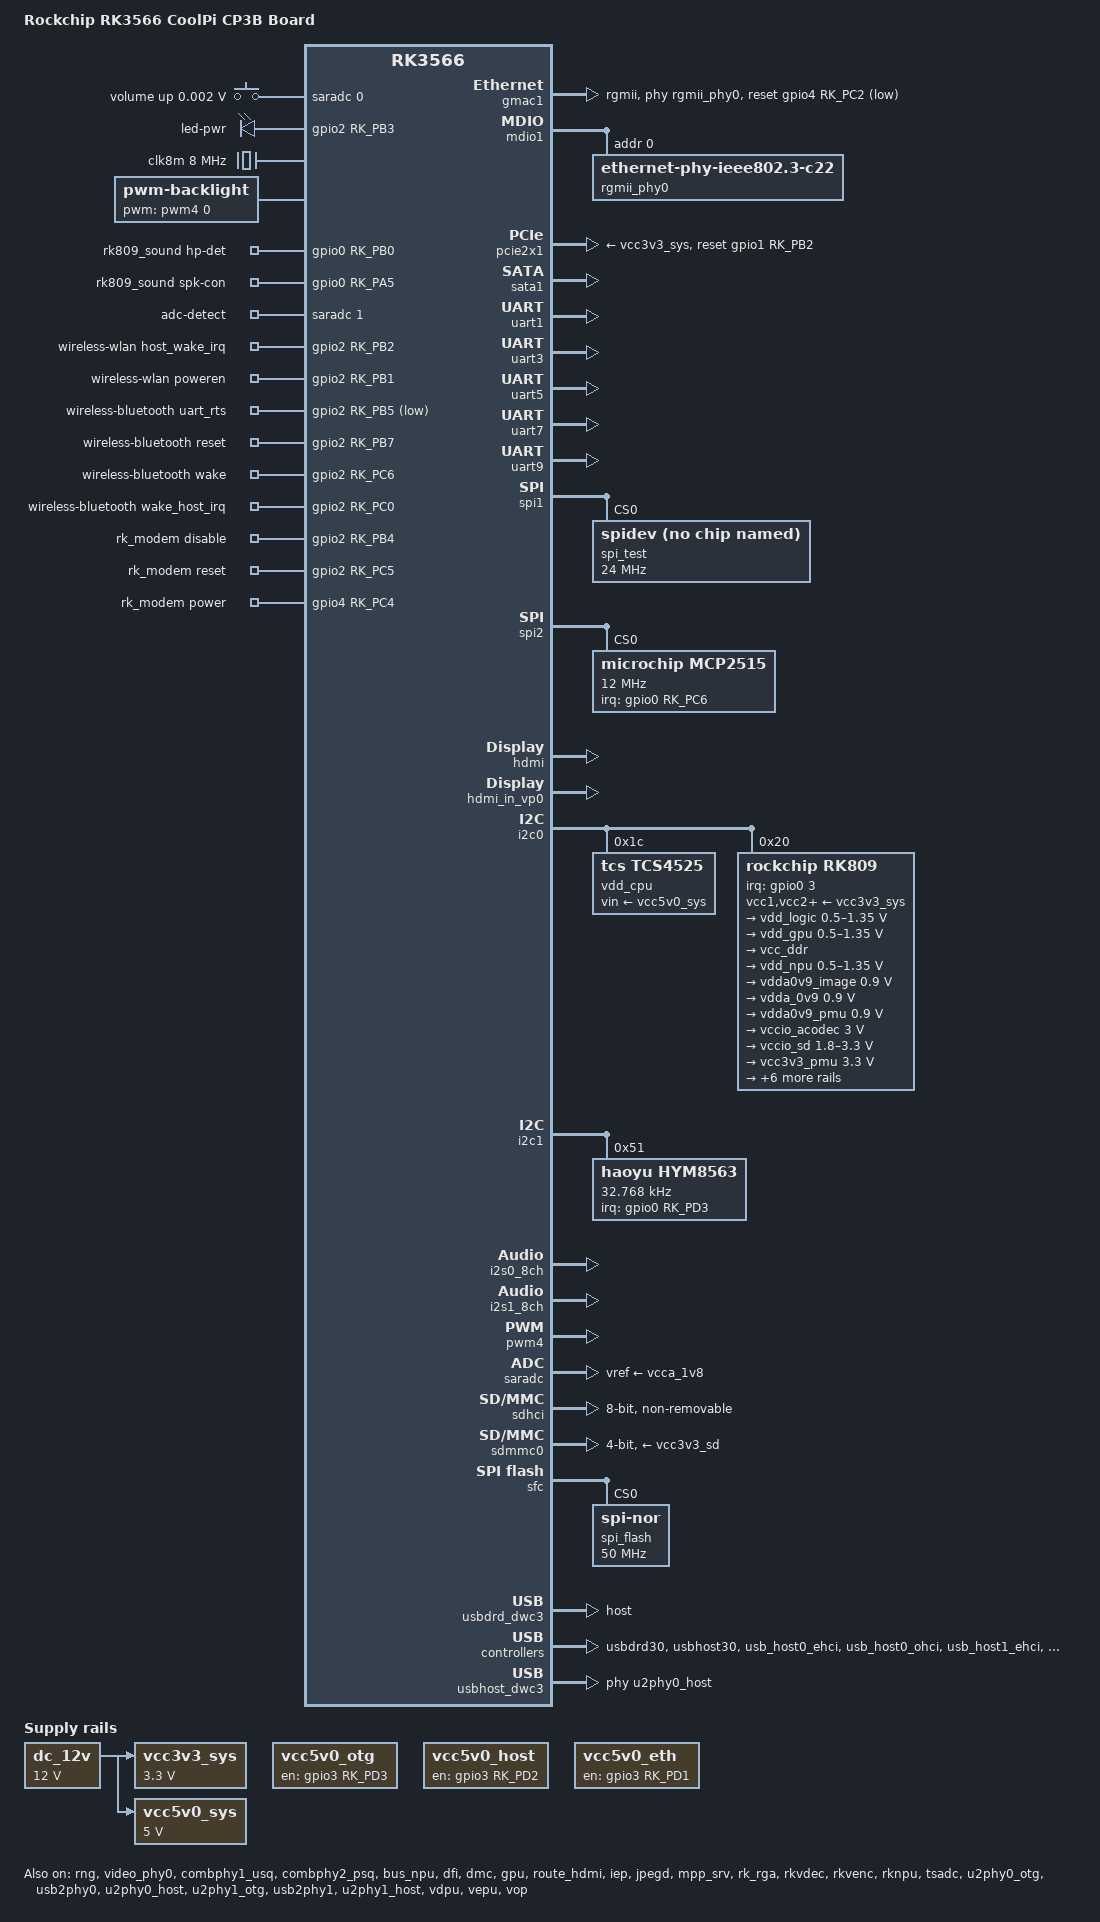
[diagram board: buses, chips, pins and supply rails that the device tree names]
// SPDX-License-Identifier: (GPL-2.0+ OR MIT)
/*
 * Copyright (c) 2020 Rockchip Electronics Co., Ltd.
 *
 */


// SPDX-License-Identifier: (GPL-2.0+ OR MIT)
/*
 * Copyright (c) 2020 Rockchip Electronics Co., Ltd.
 *
 */

/dts-v1/;
#include <dt-bindings/display/rockchip_vop.h>
#include <dt-bindings/gpio/gpio.h>
#include <dt-bindings/display/media-bus-format.h>
#include <dt-bindings/pinctrl/rockchip.h>
#include <dt-bindings/pwm/pwm.h>
#include <dt-bindings/input/rk-input.h>
#include <dt-bindings/display/drm_mipi_dsi.h>
#include <dt-bindings/sensor-dev.h>
#include "rk3566.dtsi"

/ {
	model = "Rockchip RK3566 CoolPi CP3B Board";
	compatible = "rockchip,rk3566";

	chosen: chosen {
		bootargs = "earlycon=uart8250,mmio32,0xfe660000 console=ttyFIQ0";
	};
	
	aliases {
		mmc0 = &sdhci;
		mmc1 = &sdmmc0;
		mmc2 = &sdmmc1;
		mmc3 = &sdmmc2;
	};

	fiq-debugger {
		compatible = "rockchip,fiq-debugger";
		rockchip,serial-id = <2>;
		rockchip,wake-irq = <0>;
		/* If enable uart uses irq instead of fiq */
		rockchip,irq-mode-enable = <1>;
		rockchip,baudrate = <115200>;  /* Only 115200 and 1500000 */
		interrupts = <GIC_SPI 252 IRQ_TYPE_LEVEL_LOW>;
		pinctrl-names = "default";
		pinctrl-0 = <&uart2m0_xfer>;
		status = "okay";
	};

	debug: debug@fd904000 {
		compatible = "rockchip,debug";
		reg = <0x0 0xfd904000 0x0 0x1000>,
			<0x0 0xfd905000 0x0 0x1000>,
			<0x0 0xfd906000 0x0 0x1000>,
			<0x0 0xfd907000 0x0 0x1000>;
	};

	cspmu: cspmu@fd90c000 {
		compatible = "rockchip,cspmu";
		reg = <0x0 0xfd90c000 0x0 0x1000>,
			<0x0 0xfd90d000 0x0 0x1000>,
			<0x0 0xfd90e000 0x0 0x1000>,
			<0x0 0xfd90f000 0x0 0x1000>;
	};
	
	adc_keys: adc-keys {
		compatible = "adc-keys";
		io-channels = <&saradc 0>;
		io-channel-names = "buttons";
		keyup-threshold-microvolt = <1800000>;
		poll-interval = <100>;

		vol-up-key {
			label = "volume up";
			linux,code = <KEY_VOLUMEUP>;
			press-threshold-microvolt = <1750>;
		};
	};
	
	leds: leds {
	status = "okay";
		compatible = "gpio-leds";
		led_pwr: led-pwr {
			label = "led-pwr";
			gpios = <&gpio2 RK_PB3 GPIO_ACTIVE_HIGH>;
			linux,default-trigger = "heartbeat";
		};	
	};
	
	clk8m: clk8m {
		#clock-cells = <0>;
		compatible = "fixed-clock";
		clock-frequency = <8000000>;
	};

	backlight: backlight {
		compatible = "pwm-backlight";
		pwms = <&pwm4 0 25000 0>;
		brightness-levels = <
			  0  20  20  21  21  22  22  23
			 23  24  24  25  25  26  26  27
			 27  28  28  29  29  30  30  31
			 31  32  32  33  33  34  34  35
			 35  36  36  37  37  38  38  39
			 40  41  42  43  44  45  46  47
			 48  49  50  51  52  53  54  55
			 56  57  58  59  60  61  62  63
			 64  65  66  67  68  69  70  71
			 72  73  74  75  76  77  78  79
			 80  81  82  83  84  85  86  87
			 88  89  90  91  92  93  94  95
			 96  97  98  99 100 101 102 103
			104 105 106 107 108 109 110 111
			112 113 114 115 116 117 118 119
			120 121 122 123 124 125 126 127
			128 129 130 131 132 133 134 135
			136 137 138 139 140 141 142 143
			144 145 146 147 148 149 150 151
			152 153 154 155 156 157 158 159
			160 161 162 163 164 165 166 167
			168 169 170 171 172 173 174 175
			176 177 178 179 180 181 182 183
			184 185 186 187 188 189 190 191
			192 193 194 195 196 197 198 199
			200 201 202 203 204 205 206 207
			208 209 210 211 212 213 214 215
			216 217 218 219 220 221 222 223
			224 225 226 227 228 229 230 231
			232 233 234 235 236 237 238 239
			240 241 242 243 244 245 246 247
			248 249 250 251 252 253 254 255
		>;
		default-brightness-level = <200>;
	};

	rk809_sound: rk809-sound {
		status = "okay";
		compatible = "rockchip,multicodecs-card";
		rockchip,card-name = "rockchip-rk809";
		hp-det-gpio = <&gpio0 RK_PB0 GPIO_ACTIVE_HIGH>;
		io-channels = <&saradc 1>;
		io-channel-names = "adc-detect";
		keyup-threshold-microvolt = <1800000>;
		poll-interval = <100>;
		spk-con-gpio = <&gpio0 RK_PA5 GPIO_ACTIVE_HIGH>;
		rockchip,format = "i2s";
		rockchip,mclk-fs = <256>;
		rockchip,cpu = <&i2s1_8ch>;
		rockchip,codec = <&rk809_codec>;
		pinctrl-names = "default";
		pinctrl-0 = <&hp_det>;
		play-pause-key {
			label = "playpause";
			linux,code = <KEY_PLAYPAUSE>;
			press-threshold-microvolt = <2000>;
		};
	};
	
	hdmi_sound: hdmi-sound {
		compatible = "simple-audio-card";
		simple-audio-card,format = "i2s";
		simple-audio-card,mclk-fs = <128>;
		simple-audio-card,name = "rockchip,hdmi";
		status = "disabled";

		simple-audio-card,cpu {
				sound-dai = <&i2s0_8ch>;
		};
		simple-audio-card,codec {
				sound-dai = <&hdmi>;
		};
	};
	
	dc_12v: dc-12v {
		compatible = "regulator-fixed";
		regulator-name = "dc_12v";
		regulator-always-on;
		regulator-boot-on;
		regulator-min-microvolt = <12000000>;
		regulator-max-microvolt = <12000000>;
	};

	vcc3v3_sys: vcc3v3-sys {
		compatible = "regulator-fixed";
		regulator-name = "vcc3v3_sys";
		regulator-always-on;
		regulator-boot-on;
		regulator-min-microvolt = <3300000>;
		regulator-max-microvolt = <3300000>;
		vin-supply = <&dc_12v>;
	};

	vcc5v0_sys: vcc5v0-sys {
		compatible = "regulator-fixed";
		regulator-name = "vcc5v0_sys";
		regulator-always-on;
		regulator-boot-on;
		regulator-min-microvolt = <5000000>;
		regulator-max-microvolt = <5000000>;
		vin-supply = <&dc_12v>;
	};
	
	vcc5v0_otg: vcc5v0-otg {
		compatible = "regulator-fixed";
		enable-active-high;
		gpio = <&gpio3 RK_PD3 GPIO_ACTIVE_HIGH>;
		pinctrl-names = "default";
		pinctrl-0 = <&vcc5v0_otg_en>;
		regulator-name = "vcc5v0_otg";
		regulator-always-on;
	};
	
	vcc5v0_host: vcc5v0-host {
		compatible = "regulator-fixed";
		enable-active-high;
		gpio = <&gpio3 RK_PD2 GPIO_ACTIVE_HIGH>;
		pinctrl-names = "default";
		pinctrl-0 = <&vcc5v0_host_en>;
		regulator-name = "vcc5v0_host";
		regulator-always-on;
	};
	
	vcc5v0_eth: vcc5v0-eth {
		compatible = "regulator-fixed";
		enable-active-high;
		gpio = <&gpio3 RK_PD1 GPIO_ACTIVE_HIGH>;
		pinctrl-names = "default";
		pinctrl-0 = <&vcc5v0_eth_en>;
		regulator-name = "vcc5v0_eth";
		regulator-always-on;
	};

	wireless-wlan {
		compatible = "wlan-platdata";
		rockchip,grf = <&grf>;
		wifi_chip_type = "ap6256";
		pinctrl-names = "default";
		pinctrl-0 = <&wifi_host_wake_irq>;
		WIFI,host_wake_irq = <&gpio2 RK_PB2 GPIO_ACTIVE_HIGH>;
		WIFI,poweren_gpio  = <&gpio2 RK_PB1 GPIO_ACTIVE_HIGH>;
		status = "okay";
	};

	wireless-bluetooth {
		compatible = "bluetooth-platdata";
		clocks = <&rk809 1>;
		clock-names = "ext_clock";
		//wifi-bt-power-toggle;
		uart_rts_gpios = <&gpio2 RK_PB5 GPIO_ACTIVE_LOW>;
		pinctrl-names = "default", "rts_gpio";
		pinctrl-0 = <&uart1m0_rtsn>;
		pinctrl-1 = <&uart1_gpios>;
		BT,reset_gpio    = <&gpio2 RK_PB7 GPIO_ACTIVE_HIGH>;
		BT,wake_gpio     = <&gpio2 RK_PC6 GPIO_ACTIVE_HIGH>;
		BT,wake_host_irq = <&gpio2 RK_PC0 GPIO_ACTIVE_HIGH>;
		status = "okay";
	};
	
	rk_modem: rk-modem {
		compatible="4g-modem-platdata";
		pinctrl-names = "default";
		pinctrl-0 = <&lte_disable &lte_power_en &lte_reset>;
		4G,disable-gpio  = <&gpio2 RK_PB4 GPIO_ACTIVE_HIGH>;
		4G,reset-gpio    = <&gpio2 RK_PC5 GPIO_ACTIVE_HIGH>;
		4G,power-gpio    = <&gpio4 RK_PC4 GPIO_ACTIVE_HIGH>;
		status = "okay";
	};
};

&reserved_memory {
	ramoops: ramoops@110000 {
		compatible = "ramoops";
		reg = <0x0 0x110000 0x0 0xf0000>;
		record-size = <0x20000>;
		console-size = <0x80000>;
		ftrace-size = <0x00000>;
		pmsg-size = <0x50000>;
	};
};

&rng {
	status = "okay";
};

&rockchip_suspend {
	status = "okay";
};

&vp0 {
	cursor-win-id = <ROCKCHIP_VOP2_ESMART0>;
};

&gmac1 {
	phy-mode = "rgmii";
	clock_in_out = "output";

	snps,reset-gpio = <&gpio4 RK_PC2 GPIO_ACTIVE_LOW>;
	snps,reset-active-low;
	/* Reset time is 20ms, 100ms for rtl8211f */
	snps,reset-delays-us = <0 20000 100000>;

	assigned-clocks = <&cru SCLK_GMAC1_RX_TX>, <&cru SCLK_GMAC1>;
	assigned-clock-parents = <&cru SCLK_GMAC1_RGMII_SPEED>, <&cru CLK_MAC1_2TOP>;
	assigned-clock-rates = <0>, <125000000>;

	pinctrl-names = "default";
	pinctrl-0 = <&gmac1m0_miim
		     &gmac1m0_tx_bus2
		     &gmac1m0_rx_bus2
		     &gmac1m0_rgmii_clk
		     &gmac1m0_rgmii_bus>;

	tx_delay = <0x44>;
	/*rx_delay = <0x2d>;*/

	phy-handle = <&rgmii_phy0>;
	status = "okay";

	/*fixed-link {
		speed = <100>;
	};*/
};

&mdio1 {
	rgmii_phy0: phy@0 {
		compatible = "ethernet-phy-ieee802.3-c22";
		reg = <0x0>;
	};
};

&video_phy0 {
	status = "okay";
};

&video_phy1 {
	status = "disabled";
};

&combphy1_usq {
	status = "okay";
};

&combphy2_psq {
	status = "okay";
};

&pcie2x1 {
	reset-gpios = <&gpio1 RK_PB2 GPIO_ACTIVE_HIGH>;
	vpcie3v3-supply = <&vcc3v3_sys>;
	status = "okay";
};

&sata1 {
	status = "okay";
};

&uart1 {
	status = "okay";
	pinctrl-names = "default";
	pinctrl-0 = <&uart1m1_xfer>;
};

&uart3 {
	status = "okay";
	pinctrl-names = "default";
	pinctrl-0 = <&uart3m0_xfer>;
};

&uart5 {
	status = "okay";
	pinctrl-names = "default";
	pinctrl-0 = <&uart5m1_xfer>;
};

&uart7 {
	status = "okay";
	pinctrl-names = "default";
	pinctrl-0 = <&uart7m2_xfer>;
};

&uart9 {
	status = "okay";
	pinctrl-names = "default";
	pinctrl-0 = <&uart9m2_xfer>;
};

&spi1 {
	status = "okay";
	max-freq = <24000000>;
	pinctrl-0 = <&spi1m0_cs0 &spi1m0_pins>;
	pinctrl-1 = <&spi1m0_cs0 &spi1m0_pins_hs>;
	num-cs = <1>;
	
	spi_test@0 {
		compatible = "rockchip,spidev";
		reg = <0>; //片选0或者1
		spi-cpha; //设置 CPHA = 1，不配置则为 0
		spi-cpol; //设置 CPOL = 1，不配置则为 0
		spi-lsb-first; //IO 先传输 lsb
		spi-max-frequency = <24000000>; //spi clk输出的时钟
	};
};

&spi2 {
	status = "okay";
	max-freq = <24000000>;
	pinctrl-0 = <&spi2m0_cs0 &spi2m0_pins>;
	pinctrl-1 = <&spi2m0_cs0 &spi2m0_pins_hs>;
	num-cs = <1>;

	mcp2515: mcp2515@0{
		compatible = "microchip,mcp2515";
		reg = <0>;
		spi-max-frequency = <12000000>;
		clocks = <&clk8m>;
		interrupt-parent = <&gpio0>;
		interrupts = <RK_PC6 IRQ_TYPE_EDGE_FALLING>;
		pinctrl-names = "default";
		pinctrl-0 = <&can_int &can_rst>;
	};
};

&bus_npu {
	bus-supply = <&vdd_logic>;
	pvtm-supply = <&vdd_cpu>;
	status = "okay";
};

&cpu0 {
	cpu-supply = <&vdd_cpu>;
};

&dfi {
	status = "okay";
};

&lpddr4_params {
	/* freq info, freq_0 is final frequency, unit: MHz */
	freq_0 = <1560>;
};

&lpddr4x_params {
	/* freq info, freq_0 is final frequency, unit: MHz */
	freq_0 = <1560>;
};

&dmc {
	center-supply = <&vdd_logic>;
	status = "okay";
};

&dsi0 {
	status = "disabled";
	//rockchip,lane-rate = <1000>;
	panel@0 {
		compatible = "aoly,sl008pa21y1285-b00", "simple-panel-dsi";
		reg = <0>;

		backlight = <&backlight>;
		power-supply=<&vcc_3v3>;
		enable-gpios = <&gpio0 RK_PC7 GPIO_ACTIVE_HIGH>;
		reset-gpios  = <&gpio0 RK_PC4 GPIO_ACTIVE_HIGH>;

		pinctrl-names = "default";
		pinctrl-0 = <&lcd_enable_gpio>, <&lcd_rst_gpio>;

		prepare-delay-ms = <120>;
		reset-delay-ms = <120>;
		init-delay-ms = <120>;
		stbyb-delay-ms = <120>;
		enable-delay-ms = <120>;
		disable-delay-ms = <120>;
		unprepare-delay-ms = <120>;

		width-mm = <229>;
		height-mm = <143>;

		dsi,flags = <(MIPI_DSI_MODE_VIDEO | MIPI_DSI_MODE_VIDEO_BURST |
			      MIPI_DSI_MODE_LPM | MIPI_DSI_MODE_NO_EOT_PACKET)>;
		dsi,format = <MIPI_DSI_FMT_RGB888>;
		dsi,lanes = <4>;

		panel-init-sequence = [
			23 00 04 ff 98 81 03
            23 00 02 01 00
            23 00 02 02 00
            23 00 02 03 57    
            23 00 02 04 D3    
            23 00 02 05 00
            23 00 02 06 11
            23 00 02 07 08
            23 00 02 08 00
            23 00 02 09 00
            23 00 02 0a 3F
            23 00 02 0b 00
            23 00 02 0c 00
            23 00 02 0d 00
            23 00 02 0e 00
            23 00 02 0f 3F
            23 00 02 10 3F
            23 00 02 11 00
            23 00 02 12 00
            23 00 02 13 00
            23 00 02 14 00
            23 00 02 15 00
            23 00 02 16 00
            23 00 02 17 00
            23 00 02 18 00
            23 00 02 19 00
            23 00 02 1a 00
            23 00 02 1b 00
            23 00 02 1c 00
            23 00 02 1d 00
            23 00 02 1e 40
            23 00 02 1f 80
            23 00 02 20 06
            23 00 02 21 01
            23 00 02 22 00
            23 00 02 23 00
            23 00 02 24 00
            23 00 02 25 00
            23 00 02 26 00
            23 00 02 27 00
            23 00 02 28 33
            23 00 02 29 33
            23 00 02 2a 00
            23 00 02 2b 00
            23 00 02 2c 00
            23 00 02 2d 00
            23 00 02 2e 00
            23 00 02 2f 00
            23 00 02 30 00
            23 00 02 31 00
            23 00 02 32 00
            23 00 02 33 00
            23 00 02 34 00
            23 00 02 35 00      
            23 00 02 36 00
            23 00 02 37 00  
            23 00 02 38 78	
            23 00 02 39 00
            23 00 02 3a 00 
            23 00 02 3b 00
            23 00 02 3c 00
            23 00 02 3d 00
            23 00 02 3e 00
            23 00 02 3f 00
            23 00 02 40 00
            23 00 02 41 00
            23 00 02 42 00
            23 00 02 43 00  
            23 00 02 44 00
            23 00 02 50 00
            23 00 02 51 23
            23 00 02 52 45
            23 00 02 53 67
            23 00 02 54 89
            23 00 02 55 ab
            23 00 02 56 01
            23 00 02 57 23
            23 00 02 58 45
            23 00 02 59 67
            23 00 02 5a 89
            23 00 02 5b ab
            23 00 02 5c cd
            23 00 02 5d ef
            23 00 02 5e 00
            23 00 02 5f 0D  
            23 00 02 60 0D  
            23 00 02 61 0C  
            23 00 02 62 0C  
            23 00 02 63 0F  
            23 00 02 64 0F  
            23 00 02 65 0E  
            23 00 02 66 0E  
            23 00 02 67 08  
            23 00 02 68 02  
            23 00 02 69 02  
            23 00 02 6a 02  
            23 00 02 6b 02  
            23 00 02 6c 02  
            23 00 02 6d 02  
            23 00 02 6e 02  
            23 00 02 6f 02  
            23 00 02 70 14  
            23 00 02 71 15  
            23 00 02 72 06  
            23 00 02 73 02  
            23 00 02 74 02  
            23 00 02 75 0D  
            23 00 02 76 0D  
            23 00 02 77 0C  
            23 00 02 78 0C  
            23 00 02 79 0F   
            23 00 02 7a 0F   
            23 00 02 7b 0E  
            23 00 02 7c 0E  
            23 00 02 7d 08    
            23 00 02 7e 02  
            23 00 02 7f 02   
            23 00 02 80 02  
            23 00 02 81 02  
            23 00 02 82 02     
            23 00 02 83 02  
            23 00 02 84 02     
            23 00 02 85 02  
            23 00 02 86 14  
            23 00 02 87 15  
            23 00 02 88 06  
            23 00 02 89 02  
            23 00 02 8A 02  
            23 00 04 FF 98 81 04
            23 00 02 6E 3A   
            23 00 02 6F 57   
            23 00 02 35 1F   
            23 00 02 3A 24   
            23 00 02 8D 1F   
            23 00 02 87 BA   
            23 00 02 B2 D1
            23 00 02 88 0B
            23 00 02 38 01   
            23 00 02 39 00
            23 00 02 B5 07   
            23 00 02 31 75
            23 00 02 3B 98  
            23 00 04 FF 98 81 01
            23 00 02 22 0A 
            23 00 02 31 09 
            23 00 02 35 07 
            23 00 02 53 82 
            23 00 02 55 84 
            23 00 02 50 85 
            23 00 02 51 80 
            23 00 02 60 10 
            23 00 02 62 00 
            23 00 02 42 55 
            23 00 02 A0 0C	
            23 00 02 A1 16	
            23 00 02 A2 23	
            23 00 02 A3 12	
            23 00 02 A4 14	
            23 00 02 A5 27	
            23 00 02 A6 1C	
            23 00 02 A7 1D	
            23 00 02 A8 7E	
            23 00 02 A9 1D	
            23 00 02 AA 29	
            23 00 02 AB 6C	
            23 00 02 AC 19	
            23 00 02 AD 16	
            23 00 02 AE 49	
            23 00 02 AF 20	
            23 00 02 B0 27	
            23 00 02 B1 50	
            23 00 02 B2 64	
            23 00 02 B3 3F	
            23 00 02 C0 00	
            23 00 02 C1 16	
            23 00 02 C2 23	
            23 00 02 C3 12
            23 00 02 C4 14
            23 00 02 C5 27
            23 00 02 C6 1C
            23 00 02 C7 1D
            23 00 02 C8 7F
            23 00 02 C9 1D	
            23 00 02 CA 29	
            23 00 02 CB 6C
            23 00 02 CC 19
            23 00 02 CD 16
            23 00 02 CE 49	
            23 00 02 CF 20
            23 00 02 D0 27	
            23 00 02 D1 50
            23 00 02 D2 64	
            23 00 02 D3 3F	
            23 00 04 FF 98 81 00
            23 00 02 35 00
            05 78 01 11	  
            05 14 01 29		
		];

		panel-exit-sequence = [
			05 dc 01 28
			05 78 01 10
		];

		disp_timings0: display-timings {
			native-mode = <&dsi0_timing0>;
			dsi0_timing0: timing0 {
				clock-frequency = <70800000>;
				hactive = <800>;
				vactive = <1280>;
				hfront-porch = <40>;
				hsync-len = <20>;
				hback-porch = <20>;
				vfront-porch = <30>;
				vsync-len = <4>;
				vback-porch = <28>;
				hsync-active = <0>;
				vsync-active = <0>;
				de-active = <0>;
				pixelclk-active = <0>;
			};
		};

		ports {
			#address-cells = <1>;
			#size-cells = <0>;

			port@0 {
				reg = <0>;
				panel_in_dsi: endpoint {
					remote-endpoint = <&dsi_out_panel>;
				};
			};
		};
	};

	ports {
		#address-cells = <1>;
		#size-cells = <0>;

		port@1 {
			reg = <1>;
			dsi_out_panel: endpoint {
				remote-endpoint = <&panel_in_dsi>;
			};
		};
	};

};

&dsi0_in_vp0 {
	status = "disabled";
};

&dsi0_in_vp1 {
	status = "disabled";
};

&route_dsi0 {
	status = "disabled";
	connect = <&vp0_out_dsi0>;
};

&cpu0_opp_table {
	opp-1992000000 {
		opp-supported-hw = <0xf9 0xffff>;
		opp-hz = /bits/ 64 <1992000000>;
		opp-microvolt = <1150000 1150000 1150000>;
		opp-microvolt-L0 = <1150000 1150000 1150000>;
		opp-microvolt-L1 = <1150000 1150000 1150000>;
		opp-microvolt-L2 = <1125000 1125000 1150000>;
		opp-microvolt-L3 = <1100000 1100000 1150000>;
		clock-latency-ns = <40000>;
	};
};

&gpu {
	compatible = "rockchip, rk3568-mali","arm,mali-bifrost";
	reg = <0x0 0xfde60000 0x0 0x20000>;
	interrupts = <GIC_SPI 40 IRQ_TYPE_LEVEL_HIGH>,
				 <GIC_SPI 41 IRQ_TYPE_LEVEL_HIGH>,
				 <GIC_SPI 39 IRQ_TYPE_LEVEL_HIGH>;
	interrupt-names = "job", "mmu", "gpu";
	clock-names = "core", "bus"; 
	mali-supply = <&vdd_gpu>;
	status = "okay";
	/delete-property/ upthreshold;
	/delete-property/ downdifferential;
	/delete-node/ gpu_power_model;
};

&gpu_opp_table {
		opp-200000000 {
			/delete-property/ opp-supported-hw;
		};

		opp-300000000 {
			/delete-property/ opp-supported-hw;
		};

		opp-400000000 {
			/delete-property/ opp-supported-hw;
		};

		opp-600000000 {
			/delete-property/ opp-supported-hw;
		};

		opp-700000000 {
			/delete-property/ opp-supported-hw;
		};

		opp-800000000 {
			/delete-property/ opp-supported-hw;
		};
};

&hdmi {
	status = "okay";
	rockchip,phy-table =
		<92812500  0x8009 0x0000 0x0270>,
		<165000000 0x800b 0x0000 0x026d>,
		<185625000 0x800b 0x0000 0x01ed>,
		<297000000 0x800b 0x0000 0x01ad>,
		<594000000 0x8029 0x0000 0x0088>,
		<000000000 0x0000 0x0000 0x0000>;
};

&hdmi_in_vp0 {
	status = "okay";
};

&hdmi_in_vp1 {
	status = "disabled";
};

&hdmi_sound {
	status = "okay";
};

&route_hdmi {
	status = "okay";
	connect = <&vp0_out_hdmi>;
};

&i2c0 {
	status = "okay";

	vdd_cpu: tcs4525@1c {
		compatible = "tcs,tcs4525";
		reg = <0x1c>;
		vin-supply = <&vcc5v0_sys>;
		regulator-compatible = "fan53555-reg";
		regulator-name = "vdd_cpu";
		regulator-min-microvolt = <712500>;
		regulator-max-microvolt = <1390000>;
		regulator-init-microvolt = <900000>;
		regulator-ramp-delay = <2300>;
		fcs,suspend-voltage-selector = <1>;
		regulator-boot-on;
		regulator-always-on;
		regulator-state-mem {
			regulator-off-in-suspend;
		};
	};

	rk809: pmic@20 {
		compatible = "rockchip,rk809";
		reg = <0x20>;
		interrupt-parent = <&gpio0>;
		interrupts = <3 IRQ_TYPE_LEVEL_LOW>;

		pinctrl-names = "default", "pmic-sleep",
				"pmic-power-off", "pmic-reset";
		pinctrl-0 = <&pmic_int>;
		pinctrl-1 = <&soc_slppin_slp>, <&rk817_slppin_slp>;
		pinctrl-2 = <&soc_slppin_gpio>, <&rk817_slppin_pwrdn>;
		pinctrl-3 = <&soc_slppin_gpio>, <&rk817_slppin_rst>;

		rockchip,system-power-controller;
		wakeup-source;
		#clock-cells = <1>;
		clock-output-names = "rk808-clkout1", "rk808-clkout2";
		//fb-inner-reg-idxs = <2>;
		/* 1: rst regs (default in codes), 0: rst the pmic */
		pmic-reset-func = <0>;
		/* not save the PMIC_POWER_EN register in uboot */
		not-save-power-en = <1>;

		vcc1-supply = <&vcc3v3_sys>;
		vcc2-supply = <&vcc3v3_sys>;
		vcc3-supply = <&vcc3v3_sys>;
		vcc4-supply = <&vcc3v3_sys>;
		vcc5-supply = <&vcc3v3_sys>;
		vcc6-supply = <&vcc3v3_sys>;
		vcc7-supply = <&vcc3v3_sys>;
		vcc8-supply = <&vcc3v3_sys>;
		vcc9-supply = <&vcc3v3_sys>;

		pwrkey {
			status = "okay";
		};

		pinctrl_rk8xx: pinctrl_rk8xx {
			gpio-controller;
			#gpio-cells = <2>;

			rk817_slppin_null: rk817_slppin_null {
				pins = "gpio_slp";
				function = "pin_fun0";
			};

			rk817_slppin_slp: rk817_slppin_slp {
				pins = "gpio_slp";
				function = "pin_fun1";
			};

			rk817_slppin_pwrdn: rk817_slppin_pwrdn {
				pins = "gpio_slp";
				function = "pin_fun2";
			};

			rk817_slppin_rst: rk817_slppin_rst {
				pins = "gpio_slp";
				function = "pin_fun3";
			};
		};

		regulators {
			vdd_logic: DCDC_REG1 {
				regulator-always-on;
				regulator-boot-on;
				regulator-min-microvolt = <500000>;
				regulator-max-microvolt = <1350000>;
				regulator-init-microvolt = <900000>;
				regulator-ramp-delay = <6001>;
				regulator-initial-mode = <0x2>;
				regulator-name = "vdd_logic";
				regulator-state-mem {
					regulator-off-in-suspend;
				};
			};

			vdd_gpu: DCDC_REG2 {
				regulator-always-on;
				regulator-boot-on;
				regulator-min-microvolt = <500000>;
				regulator-max-microvolt = <1350000>;
				regulator-init-microvolt = <900000>;
				regulator-ramp-delay = <6001>;
				regulator-initial-mode = <0x2>;
				regulator-name = "vdd_gpu";
				regulator-state-mem {
					regulator-off-in-suspend;
				};
			};

			vcc_ddr: DCDC_REG3 {
				regulator-always-on;
				regulator-boot-on;
				regulator-initial-mode = <0x2>;
				regulator-name = "vcc_ddr";
				regulator-state-mem {
					regulator-on-in-suspend;
				};
			};

			vdd_npu: DCDC_REG4 {
				regulator-always-on;
				regulator-boot-on;
				regulator-min-microvolt = <500000>;
				regulator-max-microvolt = <1350000>;
				regulator-init-microvolt = <900000>;
				regulator-ramp-delay = <6001>;
				regulator-initial-mode = <0x2>;
				regulator-name = "vdd_npu";
				regulator-state-mem {
					regulator-off-in-suspend;
				};
			};

			vdda0v9_image: LDO_REG1 {
				regulator-boot-on;
				regulator-always-on;
				regulator-min-microvolt = <900000>;
				regulator-max-microvolt = <900000>;
				regulator-name = "vdda0v9_image";
				regulator-state-mem {
					regulator-off-in-suspend;
				};
			};

			vdda_0v9: LDO_REG2 {
				regulator-always-on;
				regulator-boot-on;
				regulator-min-microvolt = <900000>;
				regulator-max-microvolt = <900000>;
				regulator-name = "vdda_0v9";
				regulator-state-mem {
					regulator-off-in-suspend;
				};
			};

			vdda0v9_pmu: LDO_REG3 {
				regulator-always-on;
				regulator-boot-on;
				regulator-min-microvolt = <900000>;
				regulator-max-microvolt = <900000>;
				regulator-name = "vdda0v9_pmu";
				regulator-state-mem {
					regulator-on-in-suspend;
					regulator-suspend-microvolt = <900000>;
				};
			};

			vccio_acodec: LDO_REG4 {
				regulator-always-on;
				regulator-boot-on;
				regulator-min-microvolt = <3000000>;
				regulator-max-microvolt = <3000000>;
				regulator-name = "vccio_acodec";
				regulator-state-mem {
					regulator-off-in-suspend;
				};
			};

			vccio_sd: LDO_REG5 {
				regulator-always-on;
				regulator-boot-on;
				regulator-min-microvolt = <1800000>;
				regulator-max-microvolt = <3300000>;
				regulator-name = "vccio_sd";
				regulator-state-mem {
					regulator-off-in-suspend;
				};
			};

			vcc3v3_pmu: LDO_REG6 {
				regulator-always-on;
				regulator-boot-on;
				regulator-min-microvolt = <3300000>;
				regulator-max-microvolt = <3300000>;
				regulator-name = "vcc3v3_pmu";
				regulator-state-mem {
					regulator-on-in-suspend;
					regulator-suspend-microvolt = <3300000>;
				};
			};

			vcca_1v8: LDO_REG7 {
				regulator-always-on;
				regulator-boot-on;
				regulator-min-microvolt = <1800000>;
				regulator-max-microvolt = <1800000>;
				regulator-name = "vcca_1v8";
				regulator-state-mem {
					regulator-off-in-suspend;
				};
			};

			vcca1v8_pmu: LDO_REG8 {
				regulator-always-on;
				regulator-boot-on;
				regulator-min-microvolt = <1800000>;
				regulator-max-microvolt = <1800000>;
				regulator-name = "vcca1v8_pmu";
				regulator-state-mem {
					regulator-on-in-suspend;
					regulator-suspend-microvolt = <1800000>;
				};
			};

			vcca1v8_image: LDO_REG9 {
				regulator-always-on;
				regulator-boot-on;
				regulator-min-microvolt = <1800000>;
				regulator-max-microvolt = <1800000>;
				regulator-name = "vcca1v8_image";
				regulator-state-mem {
					regulator-off-in-suspend;
				};
			};

			vcc_1v8: DCDC_REG5 {
				regulator-always-on;
				regulator-boot-on;
				regulator-min-microvolt = <1800000>;
				regulator-max-microvolt = <1800000>;
				regulator-name = "vcc_1v8";
				regulator-state-mem {
					regulator-off-in-suspend;
				};
			};

			vcc_3v3: SWITCH_REG1 {
				regulator-always-on;
				regulator-boot-on;
				regulator-name = "vcc_3v3";
				regulator-state-mem {
					regulator-off-in-suspend;
				};
			};

			vcc3v3_sd: SWITCH_REG2 {
				regulator-always-on;
				regulator-boot-on;
				regulator-name = "vcc3v3_sd";
				regulator-state-mem {
					regulator-off-in-suspend;
				};
			};
		};

		rk809_codec: codec {
			#sound-dai-cells = <1>;
			compatible = "rockchip,rk809-codec", "rockchip,rk817-codec";
			clocks = <&cru I2S1_MCLKOUT>;
			clock-names = "mclk";
			assigned-clocks = <&cru I2S1_MCLKOUT>, <&cru I2S1_MCLK_TX_IOE>;
			assigned-clock-rates = <12288000>;
			assigned-clock-parents = <&cru I2S1_MCLKOUT_TX>, <&cru I2S1_MCLKOUT_TX>;
			pinctrl-names = "default";
			pinctrl-0 = <&i2s1m0_mclk>;
			hp-volume = <20>;
			spk-volume = <3>;
			mic-in-differential;
			status = "okay";
		};
	};
};

&i2c1 {
	status = "okay";
	
	hym8563: hym8563@51 {
		compatible = "haoyu,hym8563";
		reg = <0x51>;
		#clock-cells = <0>;
		clock-frequency = <32768>;
		clock-output-names = "hym8563";
		pinctrl-names = "default";
		pinctrl-0 = <&hym8563_int>;
		interrupt-parent = <&gpio0>;
		interrupts = <RK_PD3 IRQ_TYPE_LEVEL_LOW>;
		//wakeup-source;
		status = "okay";
	};
};

&i2s0_8ch {
	status = "okay";
};

&i2s1_8ch {
	status = "okay";
	rockchip,clk-trcm = <1>;
	pinctrl-names = "default";
	pinctrl-0 = <&i2s1m0_sclktx
		     &i2s1m0_lrcktx
		     &i2s1m0_sdi0
		     &i2s1m0_sdo0>;
};

&iep {
	status = "okay";
};

&iep_mmu {
	status = "okay";
};

&jpegd {
	status = "okay";
};

&jpegd_mmu {
	status = "okay";
};

&mpp_srv {
	status = "okay";
};

&pmu_io_domains {
	status = "okay";
	pmuio1-supply = <&vcc3v3_pmu>;
	pmuio2-supply = <&vcc3v3_pmu>;
	vccio1-supply = <&vccio_acodec>;
	vccio3-supply = <&vccio_sd>;
	vccio4-supply = <&vcc_1v8>;
	vccio5-supply = <&vcc_1v8>;
	vccio6-supply = <&vcc_1v8>;
	vccio7-supply = <&vcc_3v3>;
};

&pwm4 {
	status = "okay";
};

&rk_rga {
	status = "okay";
};

&rkvdec {
	status = "okay";
};

&rkvdec_mmu {
	status = "okay";
};

&rkvenc {
	venc-supply = <&vdd_logic>;
	status = "okay";
};

&rkvenc_mmu {
	status = "okay";
};

&rknpu {
	rknpu-supply = <&vdd_npu>;
	status = "okay";
};

&rknpu_mmu {
	status = "okay";
};

&saradc {
	status = "okay";
	vref-supply = <&vcca_1v8>;
};

&sdhci {
	bus-width = <8>;
	no-sdio;
	no-sd;
	non-removable;
	max-frequency = <200000000>;
	full-pwr-cycle-in-suspend;
	status = "okay";
};

&sdmmc0 {
	max-frequency = <150000000>;
	no-sdio;
	no-mmc;
	bus-width = <4>;
	cap-mmc-highspeed;
	cap-sd-highspeed;
	disable-wp;
	sd-uhs-sdr104;
	vmmc-supply = <&vcc3v3_sd>;
	vqmmc-supply = <&vccio_sd>;
	pinctrl-names = "default";
	pinctrl-0 = <&sdmmc0_bus4 &sdmmc0_clk &sdmmc0_cmd &sdmmc0_det>;
	status = "okay";
};

&sfc {
	status = "okay";

	spi_flash: spi-flash@0 {
		#address-cells = <1>;
		#size-cells = <0>;
		compatible = "jedec,spi-nor";
		reg = <0x0>;
		spi-max-frequency = <50000000>;
		spi-tx-bus-width = <1>;
		spi-rx-bus-width = <4>;
		status = "okay";
	};
};

&tsadc {
	status = "okay";
};

//otg0
&u2phy0_otg {
	vbus-supply = <&vcc5v0_otg>;
	status = "okay";
};

&usb2phy0 {
	status = "okay";
};

&usbdrd_dwc3 {
	dr_mode = "host";
	status = "okay";
};

&usbdrd30 {
	status = "okay";
};

//host1
&u2phy0_host {
	phy-supply = <&vcc5v0_host>;
	status = "okay";
};

&usbhost_dwc3 {
	phys = <&u2phy0_host>;
	phy-names = "usb2-phy";
	maximum-speed = "high-speed";
	snps,dis_u2_susphy_quirk;
	status = "okay";
};

&usbhost30 {
	status = "okay";
};

//host2
&u2phy1_otg {
	phy-supply = <&vcc5v0_host>;
	status = "okay";
};

&usb2phy1 {
	status = "okay";
};

&usb_host0_ehci {
	status = "okay";
};

&usb_host0_ohci {
	status = "okay";
};

//host3
&u2phy1_host {
	phy-supply = <&vcc5v0_host>;
	status = "okay";
};

&usb_host1_ehci {
	status = "okay";
};

&usb_host1_ohci {
	status = "okay";
};

&vdpu {
	status = "okay";
};

&vdpu_mmu {
	status = "okay";
};

&vepu {
	status = "okay";
};

&vepu_mmu {
	status = "okay";
};

&vop {
	status = "okay";
	disable-win-move;
	vop-supply = <&vdd_logic>;
	assigned-clocks = <&cru DCLK_VOP0>, <&cru DCLK_VOP1>, <&cru DCLK_VOP2>;
	assigned-clock-parents = <&pmucru PLL_HPLL>, <&cru PLL_VPLL>, <&cru PLL_GPLL>;
};

&vop_mmu {
	status = "okay";
};

&pinctrl {

	headphone {
		hp_det: hp-det {
			rockchip,pins = <0 RK_PB0 RK_FUNC_GPIO &pcfg_pull_up>;
		};
	};
	
	can {
		can_int: can-int {
			rockchip,pins = <0 RK_PC6 RK_FUNC_GPIO &pcfg_pull_up>;
		};

		can_rst: can-rst {
			rockchip,pins = <0 RK_PC5 RK_FUNC_GPIO &pcfg_output_high>;
		};
	};

	pmic {
		pmic_int: pmic_int {
			rockchip,pins =
				<0 RK_PA3 RK_FUNC_GPIO &pcfg_pull_up>;
		};

		soc_slppin_gpio: soc_slppin_gpio {
			rockchip,pins =
				<0 RK_PA2 RK_FUNC_GPIO &pcfg_output_low>;
		};

		soc_slppin_slp: soc_slppin_slp {
			rockchip,pins =
				<0 RK_PA2 1 &pcfg_pull_none>;
		};

		soc_slppin_rst: soc_slppin_rst {
			rockchip,pins =
				<0 RK_PA2 2 &pcfg_pull_none>;
		};
	};
	
	rtc {
		hym8563_int: hym8563-int {
			rockchip,pins = <0 RK_PD3 RK_FUNC_GPIO &pcfg_pull_none>;
		};
	};
	
	usb {
		vcc5v0_otg_en: vcc5v0-otg-en {
			rockchip,pins = <3 RK_PD3 RK_FUNC_GPIO &pcfg_pull_none>;
		};
		
		vcc5v0_host_en: vcc5v0-host-en {
			rockchip,pins = <3 RK_PD2 RK_FUNC_GPIO &pcfg_pull_none>;
		};
		vcc5v0_eth_en: vcc5v0-eth-en {
			rockchip,pins = <3 RK_PD1 RK_FUNC_GPIO &pcfg_pull_none>;
		};
	};
	
	lcd {
		lcd_rst_gpio: lcd-rst-gpio {
			rockchip,pins = <0 RK_PC4 RK_FUNC_GPIO &pcfg_pull_none>;
		};

		lcd_enable_gpio: lcd-enable-gpio {
			rockchip,pins = <0 RK_PC7 RK_FUNC_GPIO &pcfg_pull_none>;
		};
	};

	gt9xx {
		gt9xx_gpio: gt9xx-gpio {
			rockchip,pins = <0 RK_PC1 RK_FUNC_GPIO &pcfg_pull_up>,
					<0 RK_PC0 RK_FUNC_GPIO &pcfg_pull_none>;
		};
	};

	sdio-pwrseq {
		wifi_enable_h: wifi-enable-h {
			rockchip,pins = <2 RK_PB1 RK_FUNC_GPIO &pcfg_pull_none>;
		};
	};

	wireless-wlan {
		wifi_host_wake_irq: wifi-host-wake-irq {
			rockchip,pins = <2 RK_PB2 RK_FUNC_GPIO &pcfg_pull_down>;
		};
	};

	wireless-bluetooth {
		uart1_gpios: uart1-gpios {
			rockchip,pins = <2 RK_PB5 RK_FUNC_GPIO &pcfg_pull_none>;
		};
	};
	
	rk-modem {
		lte_disable: lte-disable {
			rockchip,pins = <2 RK_PB4 RK_FUNC_GPIO &pcfg_pull_up>;
		};

		lte_power_en: lte-power-en {
			rockchip,pins = <4 RK_PC4 RK_FUNC_GPIO &pcfg_pull_up>;
		};

		lte_reset: lte-reset {
			rockchip,pins = <2 RK_PC5 RK_FUNC_GPIO &pcfg_pull_up>;
		};
	};
};

